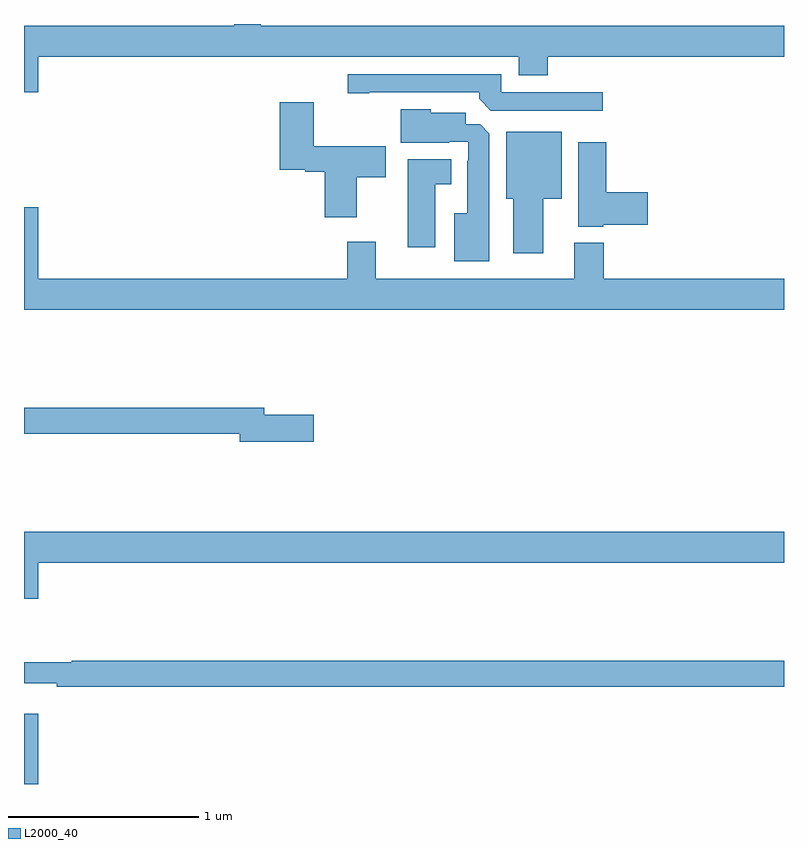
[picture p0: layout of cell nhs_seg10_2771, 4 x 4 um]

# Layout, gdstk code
import gdstk
lib = gdstk.Library(unit=1e-6, precision=1e-09)
def R(c, l, rs):  # rectangles x0, y0, x1, y1
    for r in rs: c.add(gdstk.rectangle(r[:2], r[2:], *l))
def P(c, l, *ps):  # polygons
    for p in ps: c.add(gdstk.Polygon(p, *l))
L2000_40 = (2000, 40)

nhs_seg10_2771 = lib.new_cell('nhs_seg10_2771')
R(nhs_seg10_2771, L2000_40, [(261,1284.5,261.076,1284.871)])
P(nhs_seg10_2771, L2000_40, [(261.076,1288.328),(263.603,1288.328),(263.603,1288.229),(263.756,1288.229),(263.756,1288.328),(265,1288.328),(265,1288.492),(262.245,1288.492),(262.245,1288.5),(262.107,1288.5),(262.107,1288.492),(261,1288.492),(261,1288.14),(261.076,1288.14)],
  [(264.046,1288.14),(263.511,1288.14),(263.511,1288.236),(262.704,1288.236),(262.704,1288.135),(262.816,1288.135),(262.816,1288.14),(263.396,1288.14),(263.396,1288.106),(263.457,1288.044),(264.046,1288.044)],
  [(262.75,1287.694),(262.903,1287.694),(262.903,1287.856),(262.524,1287.856),(262.524,1288.087),(262.346,1288.087),(262.346,1287.734),(262.481,1287.734),(262.481,1287.722),(262.583,1287.722),(262.583,1287.483),(262.75,1287.483)],
  [(263.449,1287.923),(263.4,1287.972),(263.326,1287.972),(263.326,1288.033),(263.142,1288.033),(263.142,1288.051),(262.982,1288.051),(262.982,1287.875),(263.237,1287.875),(263.237,1287.879),(263.337,1287.879),(263.337,1287.779),(263.333,1287.779),(263.333,1287.505),(263.264,1287.505),(263.264,1287.251),(263.449,1287.251)],
  [(263.734,1287.581),(263.83,1287.581),(263.83,1287.934),(263.537,1287.934),(263.537,1287.581),(263.576,1287.581),(263.576,1287.294),(263.734,1287.294)],
  [(264.048,1287.443),(264.283,1287.443),(264.283,1287.614),(264.065,1287.614),(264.065,1287.877),(263.918,1287.877),(263.918,1287.434),(264.048,1287.434)],
  [(263.164,1287.656),(263.248,1287.656),(263.248,1287.787),(263.021,1287.787),(263.021,1287.324),(263.164,1287.324)],
  [(265,1287.16),(264.05,1287.16),(264.05,1287.349),(263.897,1287.349),(263.897,1287.16),(262.852,1287.16),(262.852,1287.355),(262.7,1287.355),(262.7,1287.16),(261.076,1287.16),(261.076,1287.535),(261,1287.535),(261,1286.996),(265,1286.996)],
  [(262.525,1286.444),(262.264,1286.444),(262.264,1286.48),(261,1286.48),(261,1286.344),(262.136,1286.344),(262.136,1286.302),(262.525,1286.302)],
  [(261.076,1285.664),(265,1285.664),(265,1285.828),(261,1285.828),(261,1285.476),(261.076,1285.476)],
  [(265,1285.148),(261.25,1285.148),(261.25,1285.141),(261,1285.141),(261,1285.031),(261.172,1285.031),(261.172,1285.012),(265,1285.012)])

lib.write_gds('nhs_seg10_2771.gds')
